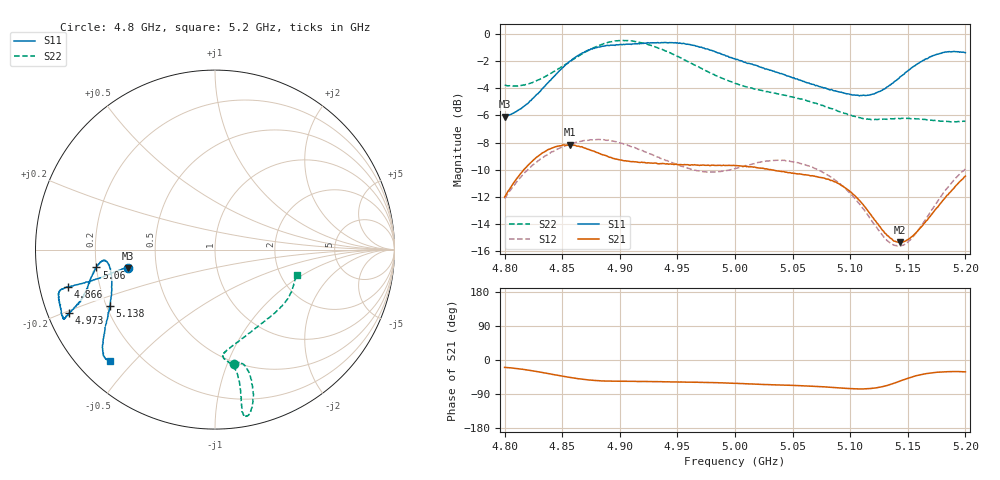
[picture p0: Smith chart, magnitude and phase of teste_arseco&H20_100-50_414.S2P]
! Network Analyzer HP8722D
! Hewlett-Packard
! Data name: Linha & Wilkinson
! Saver's name: Rodrigo Anjos
! Comments: Teste da utilização de aquisição
! continua pelo VNA HP8722D
! Time and date: 6/5/2025 16:01
!  Frequency  S11  S21  S12  S22
# HZ  S  MA R 50
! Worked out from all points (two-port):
!   401 points, 4.8 GHz to 5.2 GHz, reference 50 ohm
!   highest |S21| = -8.16 dB at 4.857 GHz (marker M1); lowest = -15.3 dB at 5.143 GHz (marker M2)
!   |S21| within 3 dB of the highest: 4.806 GHz to 5.093 GHz (286.3 MHz wide, 5.79 % of centre); 5.191837 GHz to end of sweep
!   lowest |S11| = -6.1 dB at 4.8 GHz (marker M3), VSWR 2.97, Z = 17 - j4.6 ohm
!   |S11| at or under -10 dB: nowhere
!   |S22| runs from -6.5 to -0.5 dB; largest |S21 - S12| = 0.62
!   S11 on the Smith chart (normalised r, x): 4.8 GHz: 0.34, -0.09; 4.866 GHz: 0.09, -0.12; 4.973 GHz: 0.06, -0.21; 5.06 GHz: 0.20, -0.07; 5.138 GHz: 0.21, -0.24; 5.2 GHz: 0.09, -0.43
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4.8e9  0.496 -168.1  0.251 -19.5  0.2479 -140.6  0.6475 -80.4
4.83e9  0.6099 -166.8  0.3575 -31.5  0.3431 -144.9  0.679 -75.2
4.857e9  0.7949 -165.8  0.3909 -46.0  0.3931 -150.0  0.7923 -74.6
4.866e9  0.8437 -165.8  0.3839 -50.1  0.4024 -151.6  0.8376 -75.1
4.867e9  0.8484 -165.9  0.3848 -50.5  0.4031 -151.8  0.842 -75.3
4.883e9  0.8953 -165.1  0.3622 -54.9  0.4087 -154.5  0.9094 -77.1
4.901e9  0.9147 -162.2  0.3436 -56.1  0.3963 -156.6  0.9455 -79.1
4.934e9  0.9262 -156.3  0.3328 -57.3  0.3518 -155.5  0.8838 -80.3
4.948e9  0.9285 -155.3  0.3314 -57.9  0.333 -153.2  0.8343 -79.9
4.973e9  0.8866 -156.5  0.3289 -59.3  0.311 -145.8  0.7391 -79.7
5e9  0.8094 -158.9  0.3276 -61.6  0.3195 -137.1  0.6577 -81.2
5.035e9  0.7231 -165.1  0.3142 -65.6  0.3428 -134.1  0.6048 -85.6
5.06e9  0.6683 -171.5  0.3032 -68.0  0.3313 -135.9  0.5714 -84.3
5.067e9  0.6524 -172.9  0.3009 -69.0  0.3234 -136.6  0.5601 -82.6
5.087e9  0.6176 -174.5  0.2854 -72.9  0.2894 -138.4  0.5255 -74.9
5.103e9  0.5963 -171.5  0.2562 -76.0  0.251 -138.5  0.498 -65.3
5.134e9  0.6459 -154.3  0.1787 -65.6  0.171 -120.8  0.4871 -43.3
5.138e9  0.6658 -151.8  0.1728 -61.4  0.1671 -115.8  0.4867 -40.8
5.143e9  0.6923 -149.3  0.171 -55.8  0.1657 -109.2  0.4877 -38.0
5.154e9  0.7541 -144.3  0.1801 -44.7  0.1784 -95.0  0.4882 -32.4
5.174e9  0.8368 -138.4  0.226 -32.6  0.2358 -80.2  0.4797 -23.9
5.2e9  0.8529 -133.5  0.2998 -31.2  0.3185 -76.7  0.4764 -17.5
